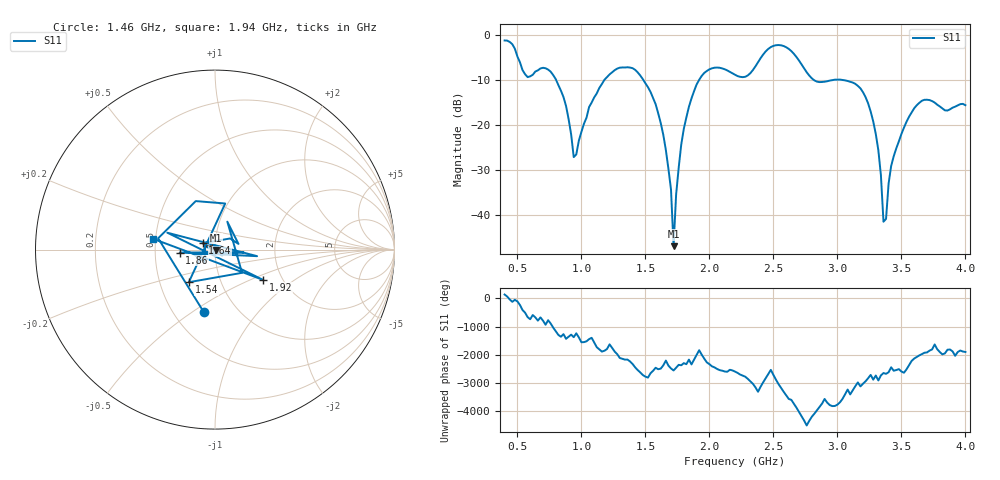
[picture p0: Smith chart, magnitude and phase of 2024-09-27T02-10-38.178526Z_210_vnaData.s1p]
!Created with skrf (http://scikit-rf.org).
# Hz S RI R 50.0
!freq ReS11 ImS11
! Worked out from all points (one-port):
!   181 points, 400 MHz to 4 GHz, reference 50 ohm
!   lowest |S11| = -47.0 dB at 1.72 GHz (marker M1), VSWR 1.01, Z = 50.4 - j0.221 ohm
!   |S11| at or under -10 dB: 802.6 MHz to 1.179 GHz (376.3 MHz wide, 38 % of centre); 1.484 GHz to 1.919 GHz (435.3 MHz wide, 25.6 % of centre); 3.043 GHz to end of sweep (the widest 3 of 4)
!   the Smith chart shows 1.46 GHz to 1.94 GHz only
!   S11 on the Smith chart (normalised r, x): 1.46 GHz: 0.70, -0.56; 1.54 GHz: 0.70, -0.27; 1.64 GHz: 0.87, +0.06; 1.86 GHz: 0.67, -0.02; 1.92 GHz: 1.60, -0.60; 1.94 GHz: 0.48, +0.07
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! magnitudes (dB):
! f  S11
! 400 MHz  -1.2
! 580 MHz  -9.4
! 740 MHz  -7.7
! 860 MHz  -13.8
! 940 MHz  -27.2
! 1.06 GHz  -16.0
! 1.3 GHz  -7.3
! 1.46 GHz  -9.0
! 1.54 GHz  -12.6
! 1.64 GHz  -22.2
! 1.7 GHz  -34.4
! 1.72 GHz  -47.0
! 1.76 GHz  -29.6
! 1.86 GHz  -14.1
! 1.92 GHz  -10.0
! 1.94 GHz  -9.1
! 2.2 GHz  -8.8
! 2.5 GHz  -2.4
! 2.66 GHz  -4.2
! 2.84 GHz  -10.4
! 3.1 GHz  -10.4
! 3.28 GHz  -19.2
! 3.34 GHz  -31.2
! 3.36 GHz  -41.5
! 3.38 GHz  -40.9
! 3.42 GHz  -29.1
! 3.56 GHz  -18.2
! 4 GHz  -15.6
